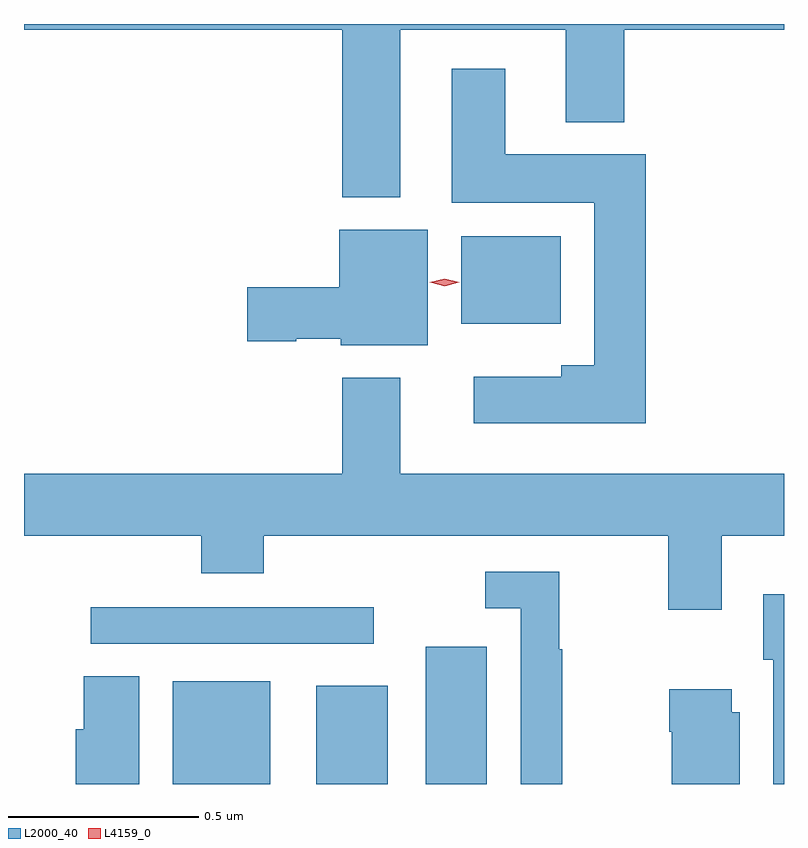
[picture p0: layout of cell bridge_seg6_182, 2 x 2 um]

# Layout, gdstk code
import gdstk
lib = gdstk.Library(unit=1e-6, precision=1e-09)
def R(c, l, rs):  # rectangles x0, y0, x1, y1
    for r in rs: c.add(gdstk.rectangle(r[:2], r[2:], *l))
def P(c, l, *ps):  # polygons
    for p in ps: c.add(gdstk.Polygon(p, *l))
L2000_40 = (2000, 40)
L4159_0 = (4159, 0)

bridge_seg6_182 = lib.new_cell('bridge_seg6_182')
R(bridge_seg6_182, L2000_40, [(144.494,970.659,144.751,970.93), (144.872,970.659,145.06,970.918), (145.16,970.659,145.321,971.02), (144.279,971.028,145.024,971.124), (145.253,971.87,145.516,972.1)])
P(bridge_seg6_182, L2000_40, [(145.093,972.644),(145.529,972.644),(145.529,972.401),(145.682,972.401),(145.682,972.644),(146.103,972.644),(146.103,972.659),(144.103,972.659),(144.103,972.644),(144.941,972.644),(144.941,972.203),(145.093,972.203)],
  [(145.739,972.316),(145.369,972.316),(145.369,972.541),(145.229,972.541),(145.229,972.188),(145.604,972.188),(145.604,971.761),(145.517,971.761),(145.517,971.731),(145.287,971.731),(145.287,971.609),(145.739,971.609)],
  [(145.165,972.118),(144.932,972.118),(144.932,971.966),(144.69,971.966),(144.69,971.824),(144.819,971.824),(144.819,971.831),(144.936,971.831),(144.936,971.813),(145.165,971.813)],
  [(145.939,971.312),(146.103,971.312),(146.103,971.476),(145.093,971.476),(145.093,971.728),(144.941,971.728),(144.941,971.476),(144.103,971.476),(144.103,971.312),(144.569,971.312),(144.569,971.213),(144.734,971.213),(144.734,971.312),(145.799,971.312),(145.799,971.118),(145.939,971.118)],
  [(145.519,971.014),(145.511,971.014),(145.511,971.217),(145.317,971.217),(145.317,971.121),(145.41,971.121),(145.41,970.659),(145.519,970.659)],
  [(146.103,971.158),(146.048,971.158),(146.048,970.986),(146.075,970.986),(146.075,970.659),(146.103,970.659)],
  [(144.406,970.943),(144.26,970.943),(144.26,970.803),(144.239,970.803),(144.239,970.659),(144.406,970.659)],
  [(145.987,970.848),(145.966,970.848),(145.966,970.909),(145.801,970.909),(145.801,970.796),(145.808,970.796),(145.808,970.659),(145.987,970.659)])
P(bridge_seg6_182, L4159_0, [(145.21,971.969),(145.171,971.979),(145.171,971.979),(145.171,971.979),(145.21,971.989),(145.248,971.979),(145.248,971.979),(145.248,971.979)])

lib.write_gds('bridge_seg6_182.gds')
